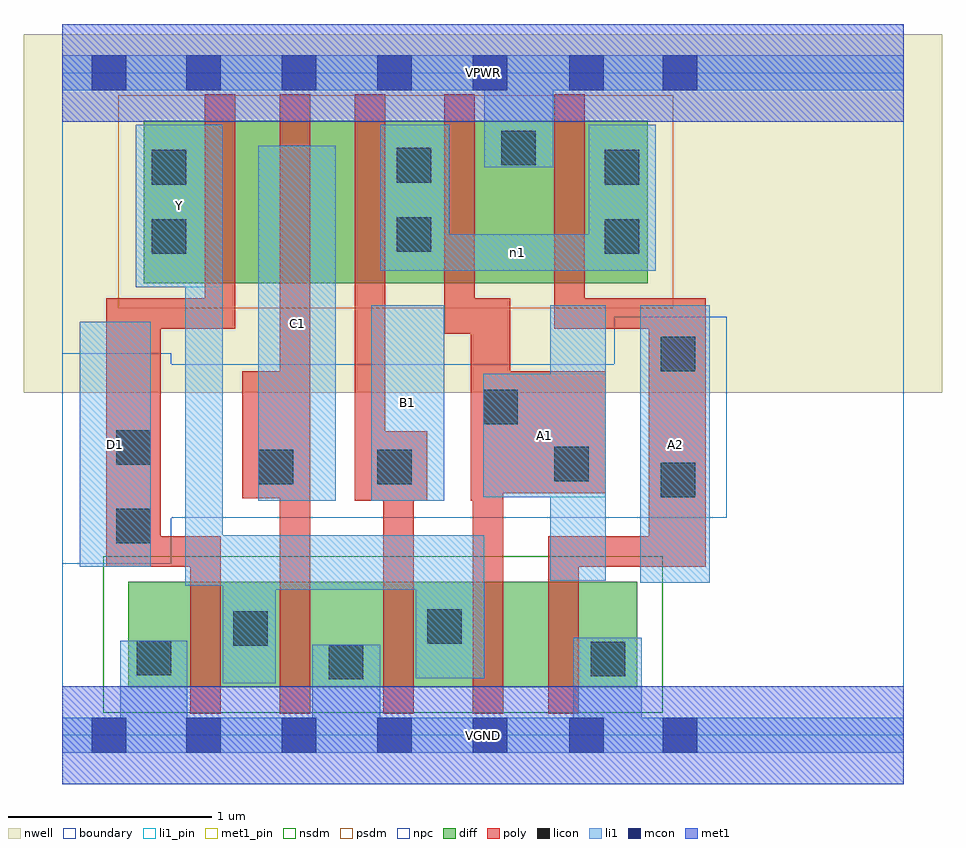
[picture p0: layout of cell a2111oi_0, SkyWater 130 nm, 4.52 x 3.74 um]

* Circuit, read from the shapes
.subckt a2111oi_0 A1 A2 B1 C1 D1 VGND VPWR Y n1
XM1 Y D1 VGND VSUBS sky130_fd_pr__nfet_01v8 w=0.52 l=0.15
XM2 VGND C1 Y VSUBS sky130_fd_pr__nfet_01v8 w=0.52 l=0.15
XM3 Y B1 VGND VSUBS sky130_fd_pr__nfet_01v8 w=0.52 l=0.15
XM4 n2 A1 Y VSUBS sky130_fd_pr__nfet_01v8 w=0.52 l=0.15
XM5 VGND A2 n2 VSUBS sky130_fd_pr__nfet_01v8 w=0.52 l=0.15
XM6 n3 D1 Y n4 sky130_fd_pr__pfet_01v8 w=0.8 l=0.15
XM7 n5 C1 n3 n4 sky130_fd_pr__pfet_01v8 w=0.8 l=0.15
XM8 n1 B1 n5 n4 sky130_fd_pr__pfet_01v8 w=0.8 l=0.15
XM9 VPWR A1 n1 n4 sky130_fd_pr__pfet_01v8 w=0.8 l=0.15
XM10 n1 A2 VPWR n4 sky130_fd_pr__pfet_01v8 w=0.8 l=0.15
.ends

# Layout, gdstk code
import gdstk
lib = gdstk.Library(unit=1e-6, precision=1e-09)
def R(c, l, rs):  # rectangles x0, y0, x1, y1
    for r in rs: c.add(gdstk.rectangle(r[:2], r[2:], *l))
def A(c, l, x, y, w, h, nx, ny, dx, dy):  # array of equal rectangles
    R(c, l, [(x+i*dx, y+j*dy, x+i*dx+w, y+j*dy+h) for i in range(nx) for j in range(ny)])
nwell = (64, 20)
diff = (65, 20)
poly = (66, 20)
licon = (66, 44)
li1_pin = (67, 16)
li1 = (67, 20)
mcon = (67, 44)
met1_pin = (68, 16)
met1 = (68, 20)
nsdm = (93, 44)
psdm = (94, 20)
npc = (95, 20)
boundary = (235, 4)

a2111oi_0 = lib.new_cell('a2111oi_0')
R(a2111oi_0, nwell, [(-0.19,1.685,4.33,3.45), (0,1.685,4.14,3.45)])
R(a2111oi_0, diff, [(0.325,0.235,2.83,0.755), (0.4,2.225,2.88,3.025)])
R(a2111oi_0, poly, [(0.63,0.105,0.78,0.98), (1.07,0.105,1.22,3.155), (1.58,0.105,1.73,1.495), (2.02,0.105,2.17,2.15), (2.39,0.105,2.54,0.98), (0.215,0.83,0.485,2.15), (0.215,0.83,0.78,0.98), (2.39,0.83,3.165,0.98), (2.885,0.83,3.165,2.15), (1.44,1.155,1.59,3.155), (1.44,1.155,1.795,1.495), (2.01,1.155,2.17,2.15), (0.885,1.165,1.22,1.79), (2.01,1.19,2.675,1.79), (2.01,1.19,2.205,2.15), (1.88,1.975,2.03,3.155), (0.215,2,0.85,2.15), (0.7,2,0.85,3.155), (2.42,2,2.57,3.155), (2.42,2,3.165,2.15)])
R(a2111oi_0, licon, [(1.31,0.275,1.48,0.445), (2.6,0.29,2.77,0.46), (0.365,0.295,0.535,0.465), (0.84,0.44,1.01,0.61), (1.795,0.45,1.965,0.62), (0.265,0.945,0.435,1.115), (2.945,1.17,3.115,1.34), (0.965,1.235,1.135,1.405), (1.55,1.235,1.72,1.405), (2.42,1.25,2.59,1.42), (0.265,1.33,0.435,1.5), (2.07,1.53,2.24,1.7), (2.945,1.79,3.115,1.96), (0.44,2.37,0.61,2.54), (2.67,2.37,2.84,2.54), (1.645,2.38,1.815,2.55), (0.44,2.71,0.61,2.88), (2.67,2.71,2.84,2.88), (1.645,2.72,1.815,2.89), (2.16,2.805,2.33,2.975)])
R(a2111oi_0, li1_pin, [(2.845,0.75,3.185,2.115), (0.085,0.83,0.435,2.035), (0.965,1.155,1.345,2.9), (1.52,1.155,1.88,2.115), (2.07,1.17,2.675,1.78), (0.36,2.205,0.79,3.005)])
R(a2111oi_0, li1, [(0,-0.085,4.14,0.085), (0.285,-0.085,0.615,0.465), (1.23,-0.085,1.565,0.445), (2.515,-0.085,2.85,0.48), (0.79,0.255,1.05,0.985), (1.74,0.28,2.075,0.985), (0.79,0.715,2.075,0.985), (0.605,0.735,0.79,3.005), (2.845,0.75,3.185,2.115), (2.4,0.76,2.675,2.115), (0.085,0.83,0.435,2.035), (0.965,1.155,1.345,2.9), (1.52,1.155,1.88,2.115), (2.07,1.17,2.675,1.78), (0.36,2.205,0.79,3.005), (1.565,2.285,2.92,2.465), (1.565,2.285,1.905,3.005), (2.59,2.285,2.92,3.005), (2.075,2.795,2.415,3.345), (0,3.175,4.14,3.345)])
A(a2111oi_0, mcon, 0.61, -0.085, 0.17, 0.17, 4, 2, 0.47, 3.26)
R(a2111oi_0, mcon, [(0.145,-0.085,0.315,0.085), (2.495,-0.085,2.665,0.085), (2.955,-0.085,3.125,0.085), (0.145,3.175,0.315,3.345), (2.495,3.175,2.665,3.345), (2.955,3.175,3.125,3.345)])
R(a2111oi_0, met1_pin, [(0,-0.24,4.14,0.24), (0,3.02,4.14,3.5)])
R(a2111oi_0, met1, [(0,-0.24,4.14,0.24), (0,3.02,4.14,3.5)])
R(a2111oi_0, nsdm, [(0.2,0.11,2.955,0.88)])
R(a2111oi_0, psdm, [(0.275,2.1,3.005,3.15)])
R(a2111oi_0, npc, [(0,0.845,0.535,1.88), (0,1.07,3.27,1.825), (2.715,1.07,3.27,2.06)])
R(a2111oi_0, boundary, [(0,0,4.14,3.26)])
a2111oi_0.add(gdstk.Label('A1', (2.372,1.475), layer=67, texttype=5))
a2111oi_0.add(gdstk.Label('A2', (3.015,1.432), layer=67, texttype=5))
a2111oi_0.add(gdstk.Label('B1', (1.7,1.635), layer=67, texttype=5))
a2111oi_0.add(gdstk.Label('C1', (1.155,2.027), layer=67, texttype=5))
a2111oi_0.add(gdstk.Label('D1', (0.26,1.432), layer=67, texttype=5))
a2111oi_0.add(gdstk.Label('Y', (0.575,2.605), layer=67, texttype=5))
a2111oi_0.add(gdstk.Label('n1', (2.242,2.375), layer=67, texttype=5))
a2111oi_0.add(gdstk.Label('VPWR', (2.07,3.26), layer=68, texttype=5))
a2111oi_0.add(gdstk.Label('VGND', (2.07,0), layer=68, texttype=5))
a2111oi_0.add(gdstk.Label('A1', (2.372,1.475), layer=67, texttype=16))
a2111oi_0.add(gdstk.Label('A2', (3.015,1.432), layer=67, texttype=16))
a2111oi_0.add(gdstk.Label('B1', (1.7,1.635), layer=67, texttype=16))
a2111oi_0.add(gdstk.Label('C1', (1.155,2.027), layer=67, texttype=16))
a2111oi_0.add(gdstk.Label('D1', (0.26,1.432), layer=67, texttype=16))
a2111oi_0.add(gdstk.Label('Y', (0.575,2.605), layer=67, texttype=16))
a2111oi_0.add(gdstk.Label('VPWR', (2.07,3.26), layer=68, texttype=16))
a2111oi_0.add(gdstk.Label('VGND', (2.07,0), layer=68, texttype=16))

lib.write_gds('a2111oi_0.gds')
